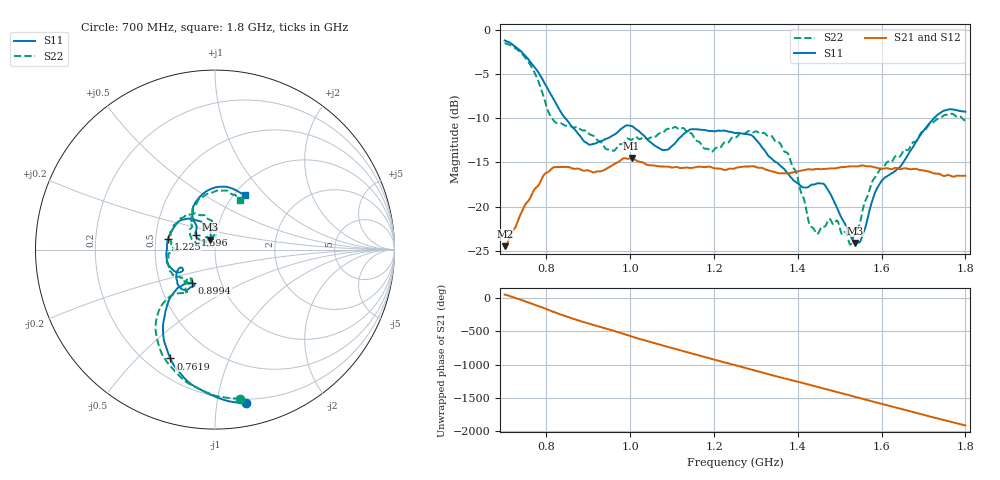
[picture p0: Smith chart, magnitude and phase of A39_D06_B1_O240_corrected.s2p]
! Created with skrf 1.9.0 (http://scikit-rf.org).
# Hz S RI R 50.0
!freq ReS11 ImS11 ReS21 ImS21 ReS12 ImS12 ReS22 ImS22
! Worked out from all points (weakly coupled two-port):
!   1601 points, 700 MHz to 1.8 GHz, reference 50 ohm
!   highest |S21| = -14.50 dB at 1.003 GHz (marker M1); lowest = -24.5 dB at 700.7 MHz (marker M2)
!   lowest |S11| = -24.1 dB at 1.536 GHz (marker M3), VSWR 1.13, Z = 47.1 + j5.29 ohm
!   |S11| at or under -10 dB: 845.1 MHz to 1.725 GHz (879.8 MHz wide, 68.5 % of centre)
!   |S22| runs from -24.3 to -1.5 dB; largest |S21 - S12| = 0.0034
!   S11 on the Smith chart (normalised r, x): 700 MHz: 0.17, -1.21; 761.9 MHz: 0.30, -0.63; 899.4 MHz: 0.73, -0.29; 1.225 GHz: 0.58, +0.07; 1.596 GHz: 0.80, +0.13; 1.8 GHz: 1.12, +0.77
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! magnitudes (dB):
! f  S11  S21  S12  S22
! 700 MHz  -1.2  -24.5  -24.3  -1.5
! 700.7 MHz  -1.2  -24.5  -24.2  -1.5
! 761.9 MHz  -3.7  -18.9  -18.9  -4.0
! 816.2 MHz  -7.8  -15.6  -15.7  -10.2
! 883.6 MHz  -12.2  -15.9  -15.7  -11.3
! 899.4 MHz  -12.9  -15.9  -15.9  -11.7
! 957.8 MHz  -12.0  -15.3  -15.3  -13.7
! 1.003 GHz  -10.9  -14.5  -14.6  -12.4
! 1.067 GHz  -13.3  -15.4  -15.4  -11.8
! 1.225 GHz  -11.4  -15.9  -15.8  -12.7
! 1.25 GHz  -11.7  -15.7  -15.6  -12.2
! 1.357 GHz  -15.3  -16.2  -16.2  -12.8
! 1.395 GHz  -17.2  -16.1  -16.0  -16.0
! 1.434 GHz  -17.5  -15.8  -15.8  -22.3
! 1.467 GHz  -17.7  -15.7  -15.7  -22.1
! 1.525 GHz  -23.3  -15.4  -15.4  -24.3
! 1.536 GHz  -24.1  -15.4  -15.4  -22.9
! 1.552 GHz  -23.6  -15.3  -15.4  -21.1
! 1.596 GHz  -17.4  -15.7  -15.7  -15.8
! 1.617 GHz  -16.4  -15.7  -15.7  -14.9
! 1.733 GHz  -9.6  -16.3  -16.3  -10.1
! 1.8 GHz  -9.3  -16.5  -16.5  -10.2
